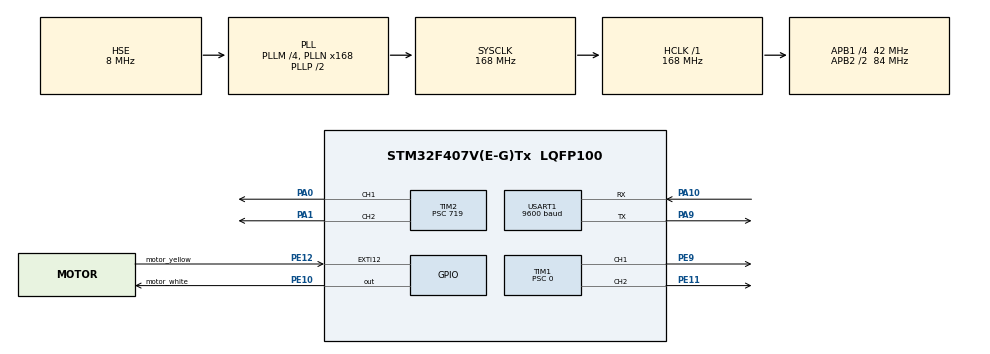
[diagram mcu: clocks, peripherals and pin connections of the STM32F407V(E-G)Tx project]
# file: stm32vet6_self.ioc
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Mcu.Family=STM32F4
Mcu.Name=STM32F407V(E-G)Tx
Mcu.Package=LQFP100
NVIC.EXTI15_10_IRQn=true\:0\:0\:false\:false\:true\:true\:true
NVIC.PriorityGroup=NVIC_PRIORITYGROUP_4
NVIC.USART1_IRQn=true\:0\:0\:false\:false\:true\:true\:true
PA0-WKUP.Signal=S_TIM2_CH1_ETR
PA1.Signal=S_TIM2_CH2
PA10.Mode=Asynchronous
PA10.Signal=USART1_RX
PA13.Mode=Serial_Wire
PA13.Signal=SYS_JTMS-SWDIO
PA14.Mode=Serial_Wire
PA14.Signal=SYS_JTCK-SWCLK
PA9.Mode=Asynchronous
PA9.Signal=USART1_TX
PE10.GPIO_Label=motor_white
PE10.Signal=GPIO_Output
PE11.Signal=S_TIM1_CH2
PE12.GPIO_Label=motor_yellow
PE12.GPIO_PuPd=GPIO_PULLDOWN
PE12.Signal=GPXTI12
PE9.Signal=S_TIM1_CH1
PH0-OSC_IN.Mode=HSE-External-Oscillator
PH0-OSC_IN.Signal=RCC_OSC_IN
PH1-OSC_OUT.Mode=HSE-External-Oscillator
PH1-OSC_OUT.Signal=RCC_OSC_OUT
ProjectManager.HeapSize=0x200
ProjectManager.StackSize=0x400
ProjectManager.TargetToolchain=MDK-ARM V5.27
RCC.48MHZClocksFreq_Value=84000000
RCC.AHBFreq_Value=168000000
RCC.APB1CLKDivider=RCC_HCLK_DIV4
RCC.APB1Freq_Value=42000000
RCC.APB1TimFreq_Value=84000000
RCC.APB2CLKDivider=RCC_HCLK_DIV2
RCC.APB2Freq_Value=84000000
RCC.APB2TimFreq_Value=168000000
RCC.CortexFreq_Value=168000000
RCC.HCLKFreq_Value=168000000
RCC.HSE_VALUE=8000000
RCC.HSI_VALUE=16000000
RCC.LSE_VALUE=32768
RCC.PLLM=4
RCC.PLLN=168
RCC.PLLSourceVirtual=RCC_PLLSOURCE_HSE
RCC.SYSCLKFreq_VALUE=168000000
RCC.SYSCLKSource=RCC_SYSCLKSOURCE_PLLCLK
RCC.VCOOutputFreq_Value=336000000
SH.S_TIM1_CH1.0=TIM1_CH1,PWM Generation1 CH1
SH.S_TIM1_CH2.0=TIM1_CH2,PWM Generation2 CH2
SH.S_TIM2_CH1_ETR.0=TIM2_CH1,PWM Generation1 CH1
SH.S_TIM2_CH2.0=TIM2_CH2,PWM Generation2 CH2
TIM1.AutoReloadPreload=TIM_AUTORELOAD_PRELOAD_ENABLE
TIM1.Channel-PWM\ Generation1\ CH1=TIM_CHANNEL_1
TIM1.Channel-PWM\ Generation2\ CH2=TIM_CHANNEL_2
TIM1.OCMode_PWM-PWM\ Generation1\ CH1=TIM_OCMODE_PWM2
TIM1.OCMode_PWM-PWM\ Generation2\ CH2=TIM_OCMODE_PWM2
TIM1.OCPolarity_1=TIM_OCPOLARITY_LOW
TIM1.OCPolarity_2=TIM_OCPOLARITY_LOW
TIM1.Period=7199
TIM1.Prescaler=0
TIM2.AutoReloadPreload=TIM_AUTORELOAD_PRELOAD_ENABLE
TIM2.Channel-PWM\ Generation1\ CH1=TIM_CHANNEL_1
TIM2.Channel-PWM\ Generation2\ CH2=TIM_CHANNEL_2
TIM2.OCMode_PWM-PWM\ Generation1\ CH1=TIM_OCMODE_PWM1
TIM2.OCPolarity_1=TIM_OCPOLARITY_HIGH
TIM2.Period=1999
TIM2.Prescaler=719
USART1.BaudRate=9600
USART1.Mode=MODE_TX_RX
USART1.VirtualMode=VM_ASYNC
VP_TIM1_VS_ClockSourceINT.Mode=Internal
VP_TIM2_VS_ClockSourceINT.Mode=Internal
board=custom

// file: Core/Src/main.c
/* USER CODE BEGIN Header */
/**
  ******************************************************************************
  * @file           : main.c
  * @brief          : Main program body
  ******************************************************************************
  * @attention
  *
  * <h2><center>&copy; Copyright (c) 2021 STMicroelectronics.
  * All rights reserved.</center></h2>
  *
  * This software component is licensed by ST under BSD 3-Clause license,
  * the "License"; You may not use this file except in compliance with the
  * License. You may obtain a copy of the License at:
  *                        opensource.org/licenses/BSD-3-Clause
  *
  ******************************************************************************
  */
/* USER CODE END Header */
#include "main.h"
#include "tim.h"
#include "usart.h"
#include "gpio.h"

/* USER CODE BEGIN Includes */
#include "string.h"
#include "dianji.h"

/* USER CODE END Includes */

void SystemClock_Config(void);

/* USER CODE BEGIN 0 */

char RxBuffer[RXBUFFERSIZE];
uint8_t aRxBuffer;
uint8_t Uart1_Rx_Cnt = 0;
//int IT_flag = 0;

/* USER CODE END 0 */

int main(void)
{

  /* MCU Configuration--------------------------------------------------------*/

  /* Reset of all peripherals, Initializes the Flash interface and the Systick. */
  HAL_Init();

  /* Configure the system clock */
  SystemClock_Config();

  /* Initialize all configured peripherals */
  MX_GPIO_Init();
  MX_TIM1_Init();
  MX_USART1_UART_Init();
  MX_TIM2_Init();
  /* USER CODE BEGIN 2 */

 HAL_TIM_PWM_Start(&htim1,TIM_CHANNEL_1);   //pe9
 HAL_TIM_PWM_Start(&htim1,TIM_CHANNEL_2);   //pe11
 HAL_TIM_PWM_Start(&htim2,TIM_CHANNEL_1);   //pa0
 HAL_TIM_PWM_Start(&htim2,TIM_CHANNEL_2);   //pa1

 HAL_UART_Receive_IT(&huart1, (uint8_t *)&aRxBuffer, 1);

//Diantiao_All_Init();          //行程校准
 Diantiao1_Init();
 Diantiao2_Init();
//__HAL_UART_ENABLE_IT(&huart1,UART_IT_IDLE);      //串口2使能UART_IT_RXNE
//	HAL_UART_Receive_DMA(&huart1, (uint8_t *)DATA_receive_BUFFER,20);//串口2DMA接收初始化

  /* USER CODE END 2 */

  /* Infinite loop */
   while (1)
  {

    /* USER CODE BEGIN 3 */

//		TIM2->CCR1=180;
//		TIM2->CCR2=180;
//		HAL_Delay(1000);
//		TIM2->CCR1=160;
//		TIM2->CCR2=160;
//		HAL_Delay(1000);
//		TIM2->CCR1=150;
//		TIM2->CCR2=150;
//		HAL_Delay(1000);
//		TIM2->CCR1=160;
//		TIM2->CCR2=160;
//		HAL_Delay(1000);
  }
  /* USER CODE END 3 */
}

void SystemClock_Config(void)
{
  RCC_OscInitTypeDef RCC_OscInitStruct = {0};
  RCC_ClkInitTypeDef RCC_ClkInitStruct = {0};

  /** Configure the main internal regulator output voltage
  */
  __HAL_RCC_PWR_CLK_ENABLE();
  __HAL_PWR_VOLTAGESCALING_CONFIG(PWR_REGULATOR_VOLTAGE_SCALE1);
  /** Initializes the RCC Oscillators according to the specified parameters
  * in the RCC_OscInitTypeDef structure.
  */
  RCC_OscInitStruct.OscillatorType = RCC_OSCILLATORTYPE_HSE;
  RCC_OscInitStruct.HSEState = RCC_HSE_ON;
  RCC_OscInitStruct.PLL.PLLState = RCC_PLL_ON;
  RCC_OscInitStruct.PLL.PLLSource = RCC_PLLSOURCE_HSE;
  RCC_OscInitStruct.PLL.PLLM = 4;
  RCC_OscInitStruct.PLL.PLLN = 168;
  RCC_OscInitStruct.PLL.PLLP = RCC_PLLP_DIV2;
  RCC_OscInitStruct.PLL.PLLQ = 4;
  if (HAL_RCC_OscConfig(&RCC_OscInitStruct) != HAL_OK)
  {
    Error_Handler();
  }
  /** Initializes the CPU, AHB and APB buses clocks
  */
  RCC_ClkInitStruct.ClockType = RCC_CLOCKTYPE_HCLK|RCC_CLOCKTYPE_SYSCLK
                              |RCC_CLOCKTYPE_PCLK1|RCC_CLOCKTYPE_PCLK2;
  RCC_ClkInitStruct.SYSCLKSource = RCC_SYSCLKSOURCE_PLLCLK;
  RCC_ClkInitStruct.AHBCLKDivider = RCC_SYSCLK_DIV1;
  RCC_ClkInitStruct.APB1CLKDivider = RCC_HCLK_DIV4;
  RCC_ClkInitStruct.APB2CLKDivider = RCC_HCLK_DIV2;

  if (HAL_RCC_ClockConfig(&RCC_ClkInitStruct, FLASH_LATENCY_5) != HAL_OK)
  {
    Error_Handler();
  }
}

/* USER CODE BEGIN 4 */
//void DMA_Usart_Send(uint8_t *buf,uint8_t len)//串口发送封装
//{
// if(HAL_UART_Transmit_DMA(&huart1, buf,len)!= HAL_OK)
//  {
//   Error_Handler();
//  }

//}

//void DMA_Usart1_Read(uint8_t *Data,uint8_t len)//串口接收封装
//{
//	HAL_UART_Receive_DMA(&huart1,Data,len);
//}

void HAL_UART_RxCpltCallback(UART_HandleTypeDef *huart)
{
	//串口发数据格式：G O#
	//大写字母+空格+大写字母+#号
    uint16_t i=0;

		//HAL_UART_Transmit(&huart1, (uint8_t *)&RxBuffer, Uart1_Rx_Cnt,2);

		RxBuffer[Uart1_Rx_Cnt++] = aRxBuffer;
		if(RxBuffer[Uart1_Rx_Cnt-1] == 0x23)
		{
			HAL_UART_Transmit(&huart1, (uint8_t *)&RxBuffer, Uart1_Rx_Cnt,0xFFFF);
      while(HAL_UART_GetState(&huart1) == HAL_UART_STATE_BUSY_TX);
      for(i=0;i<Uart1_Rx_Cnt;i++)
			{
				if(RxBuffer[i-1]==0x20)
				{
						switch(RxBuffer[i-2])
						{
							case 'T':if(RxBuffer[i]=='R')Turn_Right();
											 if(RxBuffer[i]=='L')Turn_Left();
											 if(RxBuffer[i]=='H')Turn_High();
							         if(RxBuffer[i]=='D')Turn_Down();
												break;
							case 'G':if(RxBuffer[i]=='O')Go_On();
							         if(RxBuffer[i]=='B')Go_Back();
											 if(RxBuffer[i]=='S')Go_Stop();
												break;
							case 'Z':if(RxBuffer[i]=='C')Zhua_Catch();
											 if(RxBuffer[i]=='P')Zhua_Put();
												break;

						}
				}

			}

			Uart1_Rx_Cnt = 0;
			memset(RxBuffer,0x00,sizeof(RxBuffer));
		}

	HAL_UART_Receive_IT(&huart1, (uint8_t *)&aRxBuffer, 1);

}

/* USER CODE END 4 */

void Error_Handler(void)
{
  __disable_irq();
  while (1)
  {
  }
}

/************************ (C) COPYRIGHT STMicroelectronics *****END OF FILE****/
